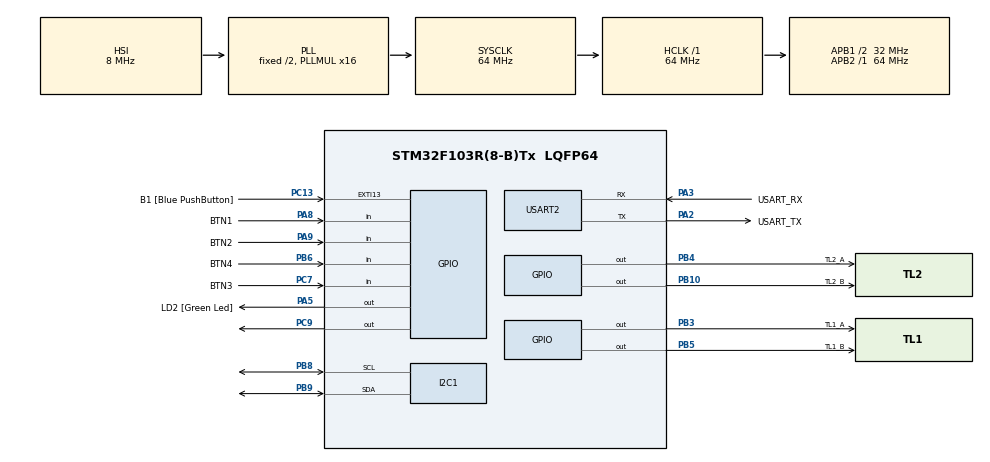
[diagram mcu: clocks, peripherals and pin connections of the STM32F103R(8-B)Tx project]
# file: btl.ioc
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Mcu.Family=STM32F1
Mcu.Name=STM32F103R(8-B)Tx
Mcu.Package=LQFP64
NVIC.EXTI15_10_IRQn=true\:0\:0\:false\:false\:true\:true\:true
NVIC.I2C1_ER_IRQn=true\:0\:0\:false\:false\:true\:true\:true
NVIC.I2C1_EV_IRQn=true\:0\:0\:false\:false\:true\:true\:true
NVIC.PriorityGroup=NVIC_PRIORITYGROUP_4
NVIC.TIM2_IRQn=true\:0\:0\:false\:false\:true\:true\:true
PA13.GPIO_Label=TMS
PA13.Mode=Serial_Wire
PA13.Signal=SYS_JTMS-SWDIO
PA14.GPIO_Label=TCK
PA14.Mode=Serial_Wire
PA14.Signal=SYS_JTCK-SWCLK
PA2.GPIO_Label=USART_TX
PA2.GPIO_Mode=GPIO_MODE_AF_PP
PA2.GPIO_PuPd=GPIO_NOPULL
PA2.GPIO_Speed=GPIO_SPEED_FREQ_LOW
PA2.Mode=Asynchronous
PA2.Signal=USART2_TX
PA3.GPIO_Label=USART_RX
PA3.GPIO_Mode=GPIO_MODE_AF_PP
PA3.GPIO_PuPd=GPIO_NOPULL
PA3.GPIO_Speed=GPIO_SPEED_FREQ_LOW
PA3.Mode=Asynchronous
PA3.Signal=USART2_RX
PA5.GPIO_Label=LD2 [Green Led]
PA5.GPIO_ModeDefaultOutputPP=GPIO_MODE_OUTPUT_PP
PA5.GPIO_PuPd=GPIO_NOPULL
PA5.GPIO_Speed=GPIO_SPEED_FREQ_LOW
PA5.Signal=GPIO_Output
PA8.GPIO_Label=BTN1
PA8.Signal=GPIO_Input
PA9.GPIO_Label=BTN2
PA9.Signal=GPIO_Input
PB10.GPIO_Label=TL2_B
PB10.Signal=GPIO_Output
PB3.GPIO_Label=TL1_A
PB3.Signal=GPIO_Output
PB4.GPIO_Label=TL2_A
PB4.Signal=GPIO_Output
PB5.GPIO_Label=TL1_B
PB5.Signal=GPIO_Output
PB6.GPIO_Label=BTN4
PB6.Signal=GPIO_Input
PB8.Mode=I2C
PB8.Signal=I2C1_SCL
PB9.Mode=I2C
PB9.Signal=I2C1_SDA
PC13-TAMPER-RTC.GPIO_Label=B1 [Blue PushButton]
PC13-TAMPER-RTC.GPIO_PuPd=GPIO_NOPULL
PC13-TAMPER-RTC.Signal=GPXTI13
PC14-OSC32_IN.Mode=LSE-External-Oscillator
PC14-OSC32_IN.Signal=RCC_OSC32_IN
PC15-OSC32_OUT.Mode=LSE-External-Oscillator
PC15-OSC32_OUT.Signal=RCC_OSC32_OUT
PC7.GPIO_Label=BTN3
PC7.Signal=GPIO_Input
PC9.Signal=GPIO_Output
PD0-OSC_IN.Mode=HSE-External-Clock-Source
PD0-OSC_IN.Signal=RCC_OSC_IN
PD1-OSC_OUT.Mode=HSE-External-Clock-Source
PD1-OSC_OUT.Signal=RCC_OSC_OUT
ProjectManager.HeapSize=0x200
ProjectManager.StackSize=0x400
ProjectManager.TargetToolchain=STM32CubeIDE
RCC.AHBFreq_Value=64000000
RCC.APB1CLKDivider=RCC_HCLK_DIV2
RCC.APB1Freq_Value=32000000
RCC.APB1TimFreq_Value=64000000
RCC.APB2Freq_Value=64000000
RCC.APB2TimFreq_Value=64000000
RCC.HCLKFreq_Value=64000000
RCC.PLLMUL=RCC_PLL_MUL16
RCC.RTCClockSelection=RCC_RTCCLKSOURCE_LSE
RCC.SYSCLKFreq_VALUE=64000000
RCC.SYSCLKSource=RCC_SYSCLKSOURCE_PLLCLK
RCC.USBFreq_Value=64000000
TIM2.Period=99
TIM2.Prescaler=6399
USART2.VirtualMode=VM_ASYNC
VP_TIM2_VS_ClockSourceINT.Mode=Internal
board=NUCLEO-F103RB

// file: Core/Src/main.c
/* USER CODE BEGIN Header */
/**
  ******************************************************************************
  * @file           : main.c
  * @brief          : Main program body
  ******************************************************************************
  * @attention
  *
  * <h2><center>&copy; Copyright (c) 2026 STMicroelectronics.
  * All rights reserved.</center></h2>
  *
  * This software component is licensed by ST under BSD 3-Clause license,
  * the "License"; You may not use this file except in compliance with the
  * License. You may obtain a copy of the License at:
  *                        opensource.org/licenses/BSD-3-Clause
  *
  ******************************************************************************
  */
/* USER CODE END Header */
#include "main.h"

/* USER CODE BEGIN Includes */
#include "scheduler.h"
#include "software_timer.h"
#include "button.h"
#include "lcd.h"
#include "dht20.h"
#include "fsm_mode.h"
#include "fsm_automatic.h"
#include "display.h"
/* USER CODE END Includes */

I2C_HandleTypeDef hi2c1;

TIM_HandleTypeDef htim2;

UART_HandleTypeDef huart2;

void SystemClock_Config(void);
static void MX_GPIO_Init(void);
static void MX_USART2_UART_Init(void);
static void MX_TIM2_Init(void);
static void MX_I2C1_Init(void);

/* USER CODE BEGIN 0 */
void task_10ms(void) {          // thứ tự quan trọng: cập nhật timer, quét nút, rồi chạy FSM
    timerRun();
    button_scan();
    fsm_run();
}

void task_dht20_read(void)  { dht20_read(); }
void task_dht20_start(void) {
    dht20_trigger();
    SCH_Add_Task(task_dht20_read, 8, 0);      // one-shot sau 80 ms
}

void HAL_TIM_PeriodElapsedCallback(TIM_HandleTypeDef *htim) {
    if (htim->Instance == TIM2) SCH_Update();
}

/* USER CODE END 0 */

int main(void)
{

  /* MCU Configuration--------------------------------------------------------*/

  /* Reset of all peripherals, Initializes the Flash interface and the Systick. */
  HAL_Init();

  /* Configure the system clock */
  SystemClock_Config();

  /* Initialize all configured peripherals */
  MX_GPIO_Init();
  MX_USART2_UART_Init();
  MX_TIM2_Init();
  MX_I2C1_Init();
  /* USER CODE BEGIN 2 */

  lcd_init();
    button_init();
    fsm_auto_enter(ST_R1_G2);                   // trạng thái khởi động

    SCH_Init();
    SCH_Add_Task(task_10ms,        0,  1);      // 10 ms
    SCH_Add_Task(display_run,      2,  25);     // 250 ms
    SCH_Add_Task(task_dht20_start, 10, 200);    // 2 s
    HAL_TIM_Base_Start_IT(&htim2);

  /* USER CODE END 2 */

  /* Infinite loop */
  while (1)
  {
	  SCH_Dispatch_Tasks();
  }
}

void SystemClock_Config(void)
{
  RCC_OscInitTypeDef RCC_OscInitStruct = {0};
  RCC_ClkInitTypeDef RCC_ClkInitStruct = {0};

  /** Initializes the RCC Oscillators according to the specified parameters
  * in the RCC_OscInitTypeDef structure.
  */
  RCC_OscInitStruct.OscillatorType = RCC_OSCILLATORTYPE_HSI;
  RCC_OscInitStruct.HSIState = RCC_HSI_ON;
  RCC_OscInitStruct.HSICalibrationValue = RCC_HSICALIBRATION_DEFAULT;
  RCC_OscInitStruct.PLL.PLLState = RCC_PLL_ON;
  RCC_OscInitStruct.PLL.PLLSource = RCC_PLLSOURCE_HSI_DIV2;
  RCC_OscInitStruct.PLL.PLLMUL = RCC_PLL_MUL16;
  if (HAL_RCC_OscConfig(&RCC_OscInitStruct) != HAL_OK)
  {
    Error_Handler();
  }
  /** Initializes the CPU, AHB and APB buses clocks
  */
  RCC_ClkInitStruct.ClockType = RCC_CLOCKTYPE_HCLK|RCC_CLOCKTYPE_SYSCLK
                              |RCC_CLOCKTYPE_PCLK1|RCC_CLOCKTYPE_PCLK2;
  RCC_ClkInitStruct.SYSCLKSource = RCC_SYSCLKSOURCE_PLLCLK;
  RCC_ClkInitStruct.AHBCLKDivider = RCC_SYSCLK_DIV1;
  RCC_ClkInitStruct.APB1CLKDivider = RCC_HCLK_DIV2;
  RCC_ClkInitStruct.APB2CLKDivider = RCC_HCLK_DIV1;

  if (HAL_RCC_ClockConfig(&RCC_ClkInitStruct, FLASH_LATENCY_2) != HAL_OK)
  {
    Error_Handler();
  }
}

static void MX_I2C1_Init(void)
{

  hi2c1.Instance = I2C1;
  hi2c1.Init.ClockSpeed = 100000;
  hi2c1.Init.DutyCycle = I2C_DUTYCYCLE_2;
  hi2c1.Init.OwnAddress1 = 0;
  hi2c1.Init.AddressingMode = I2C_ADDRESSINGMODE_7BIT;
  hi2c1.Init.DualAddressMode = I2C_DUALADDRESS_DISABLE;
  hi2c1.Init.OwnAddress2 = 0;
  hi2c1.Init.GeneralCallMode = I2C_GENERALCALL_DISABLE;
  hi2c1.Init.NoStretchMode = I2C_NOSTRETCH_DISABLE;
  if (HAL_I2C_Init(&hi2c1) != HAL_OK)
  {
    Error_Handler();
  }

}

static void MX_TIM2_Init(void)
{

  TIM_ClockConfigTypeDef sClockSourceConfig = {0};
  TIM_MasterConfigTypeDef sMasterConfig = {0};

  htim2.Instance = TIM2;
  htim2.Init.Prescaler = 6399;
  htim2.Init.CounterMode = TIM_COUNTERMODE_UP;
  htim2.Init.Period = 99;
  htim2.Init.ClockDivision = TIM_CLOCKDIVISION_DIV1;
  htim2.Init.AutoReloadPreload = TIM_AUTORELOAD_PRELOAD_DISABLE;
  if (HAL_TIM_Base_Init(&htim2) != HAL_OK)
  {
    Error_Handler();
  }
  sClockSourceConfig.ClockSource = TIM_CLOCKSOURCE_INTERNAL;
  if (HAL_TIM_ConfigClockSource(&htim2, &sClockSourceConfig) != HAL_OK)
  {
    Error_Handler();
  }
  sMasterConfig.MasterOutputTrigger = TIM_TRGO_RESET;
  sMasterConfig.MasterSlaveMode = TIM_MASTERSLAVEMODE_DISABLE;
  if (HAL_TIMEx_MasterConfigSynchronization(&htim2, &sMasterConfig) != HAL_OK)
  {
    Error_Handler();
  }

}

static void MX_USART2_UART_Init(void)
{

  huart2.Instance = USART2;
  huart2.Init.BaudRate = 115200;
  huart2.Init.WordLength = UART_WORDLENGTH_8B;
  huart2.Init.StopBits = UART_STOPBITS_1;
  huart2.Init.Parity = UART_PARITY_NONE;
  huart2.Init.Mode = UART_MODE_TX_RX;
  huart2.Init.HwFlowCtl = UART_HWCONTROL_NONE;
  huart2.Init.OverSampling = UART_OVERSAMPLING_16;
  if (HAL_UART_Init(&huart2) != HAL_OK)
  {
    Error_Handler();
  }

}

static void MX_GPIO_Init(void)
{
  GPIO_InitTypeDef GPIO_InitStruct = {0};

  /* GPIO Ports Clock Enable */
  __HAL_RCC_GPIOC_CLK_ENABLE();
  __HAL_RCC_GPIOD_CLK_ENABLE();
  __HAL_RCC_GPIOA_CLK_ENABLE();
  __HAL_RCC_GPIOB_CLK_ENABLE();

  /*Configure GPIO pin Output Level */
  HAL_GPIO_WritePin(LD2_GPIO_Port, LD2_Pin, GPIO_PIN_RESET);

  /*Configure GPIO pin Output Level */
  HAL_GPIO_WritePin(GPIOB, TL2_B_Pin|TL1_A_Pin|TL2_A_Pin|TL1_B_Pin, GPIO_PIN_RESET);

  /*Configure GPIO pin Output Level */
  HAL_GPIO_WritePin(GPIOC, GPIO_PIN_9, GPIO_PIN_RESET);

  /*Configure GPIO pin : B1_Pin */
  GPIO_InitStruct.Pin = B1_Pin;
  GPIO_InitStruct.Mode = GPIO_MODE_IT_RISING;
  GPIO_InitStruct.Pull = GPIO_NOPULL;
  HAL_GPIO_Init(B1_GPIO_Port, &GPIO_InitStruct);

  /*Configure GPIO pin : LD2_Pin */
  GPIO_InitStruct.Pin = LD2_Pin;
  GPIO_InitStruct.Mode = GPIO_MODE_OUTPUT_PP;
  GPIO_InitStruct.Pull = GPIO_NOPULL;
  GPIO_InitStruct.Speed = GPIO_SPEED_FREQ_LOW;
  HAL_GPIO_Init(LD2_GPIO_Port, &GPIO_InitStruct);

  /*Configure GPIO pins : TL2_B_Pin TL1_A_Pin TL2_A_Pin TL1_B_Pin */
  GPIO_InitStruct.Pin = TL2_B_Pin|TL1_A_Pin|TL2_A_Pin|TL1_B_Pin;
  GPIO_InitStruct.Mode = GPIO_MODE_OUTPUT_PP;
  GPIO_InitStruct.Pull = GPIO_NOPULL;
  GPIO_InitStruct.Speed = GPIO_SPEED_FREQ_LOW;
  HAL_GPIO_Init(GPIOB, &GPIO_InitStruct);

  /*Configure GPIO pin : BTN3_Pin */
  GPIO_InitStruct.Pin = BTN3_Pin;
  GPIO_InitStruct.Mode = GPIO_MODE_INPUT;
  GPIO_InitStruct.Pull = GPIO_NOPULL;
  HAL_GPIO_Init(BTN3_GPIO_Port, &GPIO_InitStruct);

  /*Configure GPIO pin : PC9 */
  GPIO_InitStruct.Pin = GPIO_PIN_9;
  GPIO_InitStruct.Mode = GPIO_MODE_OUTPUT_PP;
  GPIO_InitStruct.Pull = GPIO_NOPULL;
  GPIO_InitStruct.Speed = GPIO_SPEED_FREQ_LOW;
  HAL_GPIO_Init(GPIOC, &GPIO_InitStruct);

  /*Configure GPIO pins : BTN1_Pin BTN2_Pin */
  GPIO_InitStruct.Pin = BTN1_Pin|BTN2_Pin;
  GPIO_InitStruct.Mode = GPIO_MODE_INPUT;
  GPIO_InitStruct.Pull = GPIO_NOPULL;
  HAL_GPIO_Init(GPIOA, &GPIO_InitStruct);

  /*Configure GPIO pin : BTN4_Pin */
  GPIO_InitStruct.Pin = BTN4_Pin;
  GPIO_InitStruct.Mode = GPIO_MODE_INPUT;
  GPIO_InitStruct.Pull = GPIO_NOPULL;
  HAL_GPIO_Init(BTN4_GPIO_Port, &GPIO_InitStruct);

  /* EXTI interrupt init*/
  HAL_NVIC_SetPriority(EXTI15_10_IRQn, 0, 0);
  HAL_NVIC_EnableIRQ(EXTI15_10_IRQn);

}

void Error_Handler(void)
{
  __disable_irq();
  while (1)
  {
  }
}

/************************ (C) COPYRIGHT STMicroelectronics *****END OF FILE****/
